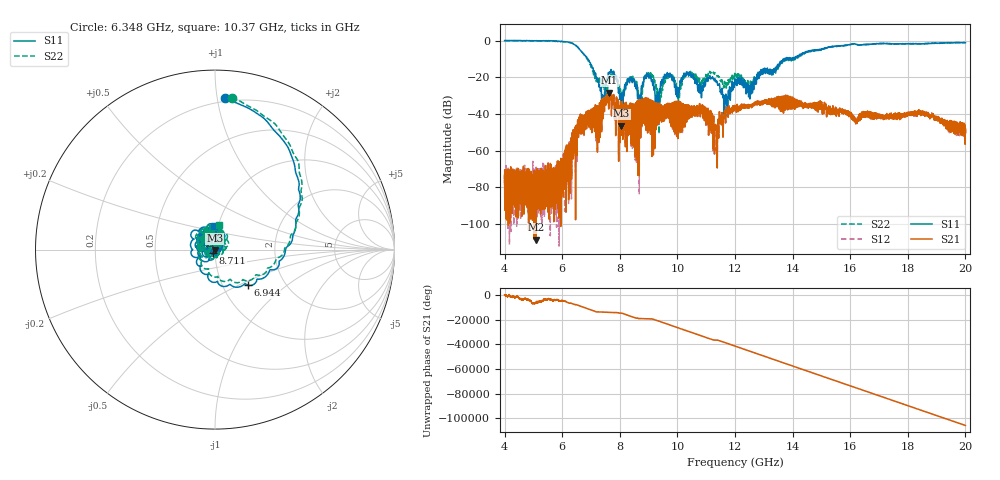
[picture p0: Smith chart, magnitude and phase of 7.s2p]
[Version] 2.0
! Rohde & Schwarz Vector Network Analyzer
! Rohde-Schwarz,ZNL20-2Port,1323001220200009,1.71.1.10-23.02.1.238
! Port Assignments:
! Nominal Port -> Actual Test Port
!  1 -> 1
!  2 -> 2
! Created: GMT+2 2025-01-16 20:22:48
# Hz S RI R 50
[Number of Ports] 2
[Two-Port Data Order] 21_12
! freq[Hz]  S11[Re]  S11[Im]  S21[Re]  S21[Im]  S12[Re]  S12[Im]  S22[Re]  S22[Im]
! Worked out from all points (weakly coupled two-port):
!   16001 points, 4 GHz to 20 GHz, reference 50 ohm
!   highest |S21| = -28.31 dB at 7.641 GHz (marker M1); lowest = -108.5 dB at 5.094 GHz (marker M2)
!   lowest |S11| = -46.3 dB at 8.05 GHz (marker M3), VSWR 1.01, Z = 49.9 - j0.474 ohm
!   |S11| at or under -10 dB: 6.889 GHz to 13.7 GHz (6.812 GHz wide, 66.2 % of centre); 13.71504 GHz to 13.74355 GHz (28.52 MHz wide, 0.208 % of centre); 13.94336 GHz to 13.9674 GHz (24.04 MHz wide, 0.172 % of centre) (the widest 3 of 9)
!   |S22| runs from -52.9 to 0.0 dB; largest |S21 - S12| = 0.0023
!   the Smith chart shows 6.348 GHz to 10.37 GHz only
!   S11 on the Smith chart (normalised r, x): 6.348 GHz: 0.18, +1.05; 6.944 GHz: 1.31, -0.56; 8.711 GHz: 0.98, -0.03; 10.37 GHz: 0.96, +0.26
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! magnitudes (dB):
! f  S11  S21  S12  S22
! 4 GHz  0.0  -75.0  -77.8  -0.2
! 5.094 GHz  -0.1  -108.5  -69.0  -0.2
! 5.776 GHz  -0.2  -85.3  -72.0  -0.4
! 6.348 GHz  -1.5  -51.1  -50.5  -1.4
! 6.667 GHz  -5.9  -43.2  -42.8  -6.0
! 6.944 GHz  -11.4  -43.9  -44.1  -12.4
! 7.404 GHz  -30.0  -34.9  -34.8  -22.4
! 7.641 GHz  -17.3  -28.3  -28.3  -19.9
! 8.05 GHz  -46.3  -45.3  -45.4  -32.4
! 8.428 GHz  -22.9  -42.0  -42.0  -21.7
! 8.711 GHz  -33.4  -35.7  -35.7  -37.7
! 9.002 GHz  -20.2  -33.4  -33.4  -18.9
! 9.334 GHz  -28.2  -34.2  -34.2  -31.2
! 9.584 GHz  -20.6  -38.4  -38.2  -22.2
! 10.05 GHz  -25.6  -33.1  -33.2  -27.6
! 10.37 GHz  -17.5  -42.3  -42.5  -17.3
! 11.36 GHz  -22.3  -46.4  -46.7  -18.7
! 11.68 GHz  -29.3  -43.6  -43.6  -22.9
! 12 GHz  -20.9  -36.9  -36.8  -18.4
! 14.67 GHz  -5.5  -34.7  -34.4  -5.8
! 17.33 GHz  -1.8  -40.5  -41.1  -1.8
! 20 GHz  -1.2  -50.3  -47.6  -1.1
